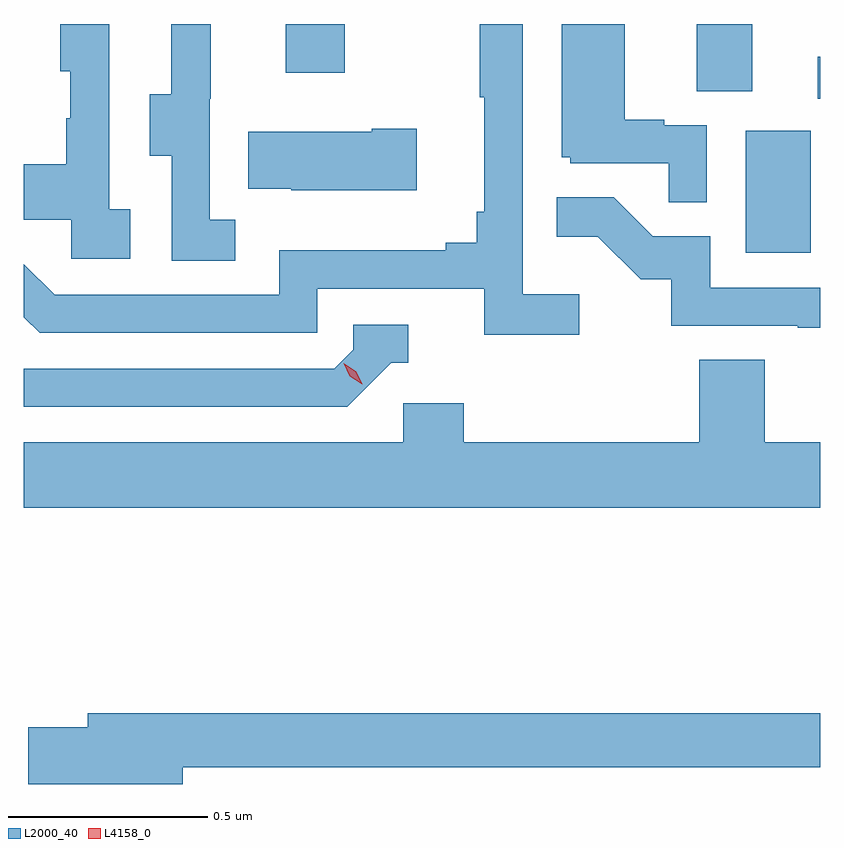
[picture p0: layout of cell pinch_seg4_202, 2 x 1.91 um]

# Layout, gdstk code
import gdstk
lib = gdstk.Library(unit=1e-6, precision=1e-09)
def R(c, l, rs):  # rectangles x0, y0, x1, y1
    for r in rs: c.add(gdstk.rectangle(r[:2], r[2:], *l))
def P(c, l, *ps):  # polygons
    for p in ps: c.add(gdstk.Polygon(p, *l))
L2000_40 = (2000, 40)
L4158_0 = (4158, 0)

pinch_seg4_202 = lib.new_cell('pinch_seg4_202')
R(pinch_seg4_202, L2000_40, [(975.218,821.436,975.382,821.743), (975.399,821.823,975.405,821.929), (975.095,821.842,975.235,822.011), (974.063,821.889,974.211,822.011)])
P(pinch_seg4_202, L2000_40, [(975.12,821.757),(975.014,821.757),(975.014,821.77),(974.914,821.77),(974.914,822.011),(974.756,822.011),(974.756,821.676),(974.778,821.676),(974.778,821.661),(975.025,821.661),(975.025,821.563),(975.12,821.563)],
  [(973.672,821.546),(973.62,821.546),(973.62,822.011),(973.496,822.011),(973.496,821.892),(973.522,821.892),(973.522,821.774),(973.512,821.774),(973.512,821.659),(973.405,821.659),(973.405,821.519),(973.524,821.519),(973.524,821.421),(973.672,821.421)],
  [(973.936,821.519),(973.872,821.519),(973.872,821.823),(973.874,821.823),(973.874,822.011),(973.775,822.011),(973.775,821.835),(973.721,821.835),(973.721,821.68),(973.776,821.68),(973.776,821.416),(973.936,821.416)],
  [(974.8,821.332),(974.658,821.332),(974.658,822.011),(974.55,822.011),(974.55,821.827),(974.561,821.827),(974.561,821.539),(974.542,821.539),(974.542,821.462),(974.465,821.462),(974.465,821.443),(974.046,821.443),(974.046,821.331),(973.482,821.331),(973.405,821.408),(973.405,821.275),(973.445,821.235),(974.142,821.235),(974.142,821.346),(974.561,821.346),(974.561,821.23),(974.8,821.23)],
  [(974.392,821.748),(974.279,821.748),(974.279,821.74),(973.969,821.74),(973.969,821.597),(974.077,821.597),(974.077,821.594),(974.392,821.594)],
  [(975.405,821.349),(975.129,821.349),(975.129,821.478),(974.985,821.478),(974.887,821.576),(974.743,821.576),(974.743,821.477),(974.847,821.477),(974.954,821.37),(975.031,821.37),(975.031,821.253),(975.349,821.253),(975.349,821.248),(975.405,821.248)],
  [(974.328,821.16),(974.371,821.16),(974.371,821.256),(974.232,821.256),(974.232,821.193),(974.184,821.145),(973.405,821.145),(973.405,821.049),(974.217,821.049)],
  [(975.405,820.96),(975.266,820.96),(975.266,821.168),(975.101,821.168),(975.101,820.96),(974.51,820.96),(974.51,821.058),(974.358,821.058),(974.358,820.96),(973.405,820.96),(973.405,820.796),(975.405,820.796)],
  [(973.804,820.144),(975.405,820.144),(975.405,820.28),(973.565,820.28),(973.565,820.244),(973.416,820.244),(973.416,820.102),(973.804,820.102)])
P(pinch_seg4_202, L4158_0, [(974.255,821.106),(974.224,821.126),(974.208,821.159),(974.208,821.159),(974.208,821.159),(974.239,821.139),(974.255,821.107),(974.255,821.106)])

lib.write_gds('pinch_seg4_202.gds')
